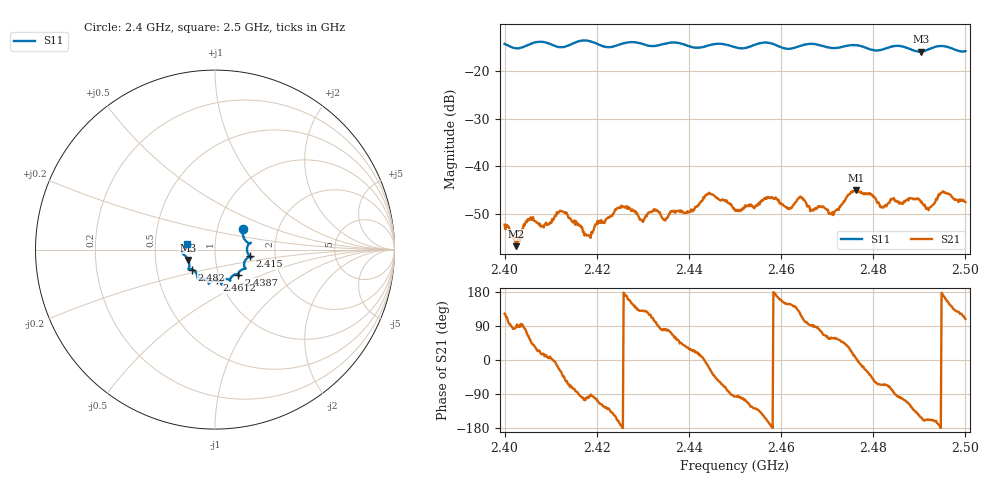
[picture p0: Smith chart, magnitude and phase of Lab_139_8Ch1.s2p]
# Hz S RI R 50
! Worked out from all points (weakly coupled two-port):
!   601 points, 2.4 GHz to 2.5 GHz, reference 50 ohm
!   highest |S21| = -45.06 dB at 2.4763 GHz (marker M1); lowest = -56.8 dB at 2.4025 GHz (marker M2)
!   lowest |S11| = -15.9 dB at 2.4903 GHz (marker M3), VSWR 1.38, Z = 36.8 - j4.4 ohm
!   |S11| at or under -10 dB: start of sweep to end of sweep
!   S12 and S22 are empty: the file has one direction only
!   S11 on the Smith chart (normalised r, x): 2.4 GHz: 1.33, +0.31; 2.415 GHz: 1.47, -0.11; 2.4387 GHz: 1.24, -0.36; 2.4612 GHz: 0.96, -0.34; 2.482 GHz: 0.76, -0.17; 2.5 GHz: 0.73, +0.05
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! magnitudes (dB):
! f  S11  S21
! 2.4 GHz  -14.3  -52.3
! 2.4025 GHz  -15.2  -56.8
! 2.4057 GHz  -14.3  -50.7
! 2.415 GHz  -14.1  -51.8
! 2.4167 GHz  -13.6  -52.9
! 2.4185 GHz  -13.7  -54.8
! 2.4253 GHz  -14.3  -48.3
! 2.4298 GHz  -14.3  -51.4
! 2.4333 GHz  -14.6  -49.4
! 2.4387 GHz  -14.3  -49.6
! 2.4443 GHz  -14.6  -45.6
! 2.45 GHz  -15.0  -49.3
! 2.4577 GHz  -14.1  -46.7
! 2.4612 GHz  -15.3  -48.7
! 2.4642 GHz  -14.7  -46.3
! 2.4667 GHz  -14.3  -49.2
! 2.4712 GHz  -15.2  -49.6
! 2.4763 GHz  -14.6  -45.1
! 2.482 GHz  -15.5  -48.7
! 2.4833 GHz  -15.0  -47.7
! 2.4903 GHz  -15.9  -47.6
! 2.5 GHz  -15.8  -47.5
